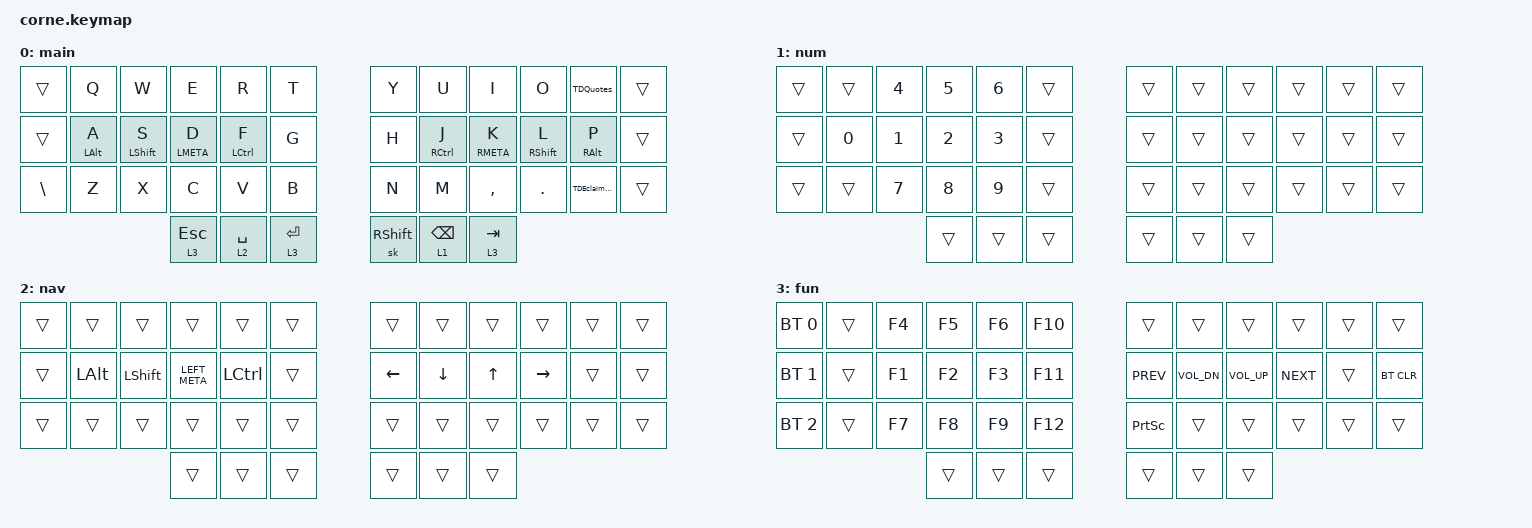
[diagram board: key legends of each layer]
/*
 * Copyright 2024 Michał Minarowski (@n3oney)
 * 
 * Originally created for QMK by Mark Stosberg (@markstos)
 * 
 * SPDX-License-Identifier: GPL-2.0-or-later
 */

#include <dt-bindings/zmk/mouse.h>
#include <behaviors.dtsi>
#include <dt-bindings/zmk/bt.h>
#include <dt-bindings/zmk/keys.h>

/ {
    combos {
        compatible = "zmk,combos";

        percent {
            bindings = <&kp UNDERSCORE>;
            key-positions = <3 2>;
            timeout-ms = <50>;
            require-prior-idle-ms = <150>;
        };

        dollar {
            bindings = <&kp EQUAL>;
            key-positions = <3 4>;
            timeout-ms = <50>;
            require-prior-idle-ms = <150>;
        };

        equals {
            bindings = <&LBrackets>;
            key-positions = <14 15>;
            timeout-ms = <50>;
            require-prior-idle-ms = <150>;
        };

        hashtag {
            bindings = <&RBrackets>;
            key-positions = <16 15>;
            timeout-ms = <50>;
            require-prior-idle-ms = <150>;
        };

        pipe {
            bindings = <&kp HASH>;
            key-positions = <28 27>;
        };

        grave {
            bindings = <&kp MINUS>;
            key-positions = <3 15>;
        };

        pipetuah {
            bindings = <&kp PLUS>;
            key-positions = <4 16>;
        };

        endofgodlike {
            bindings = <&kp ASTERISK>;
            key-positions = <5 17>;
        };

        plus {
            bindings = <&kp PERCENT>;
            key-positions = <16 28>;
        };

        minus {
            bindings = <&kp AT>;
            key-positions = <17 29>;
        };

        semi {
            bindings = <&kp DOLLAR>;
            key-positions = <9 8>;
        };

        caettt {
            bindings = <&LParLT>;
            key-positions = <19 20>;
        };

        slash {
            bindings = <&RParGT>;
            key-positions = <21 20>;
        };

        sc {
            bindings = <&kp SLASH>;
            key-positions = <32 31>;
        };

        startforgottenones {
            bindings = <&kp CARET>;
            key-positions = <6 18>;
        };

        forgotten2 {
            bindings = <&kp PIPE>;
            key-positions = <30 18>;
        };

        forgotten3 {
            bindings = <&kp COLON>;
            key-positions = <7 8>;
        };

        copy {
            bindings = <&kp SEMI>;
            key-positions = <19 7>;
        };

        paste {
            bindings = <&kp AMPERSAND>;
            key-positions = <19 31>;
        };
    };

    behaviors {
        HRLeft: HRLeft {
            compatible = "zmk,behavior-hold-tap";
            label = "HRLEFT";
            bindings = <&kp>, <&kp>;

            #binding-cells = <2>;
            tapping-term-ms = <280>;
            quick-tap-ms = <175>;
            require-prior-idle-ms = <150>;
            flavor = "balanced";
            hold-trigger-key-positions = <39 40 41 30 18 6 7 19 31 32 20 8 9 10 11 21 22 23 33 34 35>;
            hold-trigger-on-release;
        };

        HRRight: HRRight {
            compatible = "zmk,behavior-hold-tap";
            label = "HRRIGHT";
            bindings = <&kp>, <&kp>;

            #binding-cells = <2>;
            tapping-term-ms = <280>;
            quick-tap-ms = <175>;
            require-prior-idle-ms = <150>;
            flavor = "balanced";
            hold-trigger-key-positions = <0 1 2 3 4 5 12 13 14 15 16 17 24 25 26 27 28 29 36 37 38>;
            hold-trigger-on-release;
        };

        LParLT: LParLT {
            compatible = "zmk,behavior-mod-morph";
            label = "LPARLT";
            bindings = <&kp LPAR>, <&kp LESS_THAN>;

            #binding-cells = <0>;
            mods = <(MOD_LSFT|MOD_RSFT)>;
        };

        RParGT: RParGT {
            compatible = "zmk,behavior-mod-morph";
            label = "RPARGT";
            bindings = <&kp RPAR>, <&kp GREATER_THAN>;

            #binding-cells = <0>;
            mods = <(MOD_LSFT|MOD_RSFT)>;
        };

        LBrackets: LBrackets {
            compatible = "zmk,behavior-mod-morph";
            label = "LBRACKETS";
            bindings = <&kp LEFT_BRACKET>, <&kp LEFT_BRACE>;

            #binding-cells = <0>;
            mods = <(MOD_LSFT|MOD_RSFT)>;
        };

        RBrackets: RBrackets {
            compatible = "zmk,behavior-mod-morph";
            label = "RBRACKETS";
            bindings = <&kp RIGHT_BRACKET>, <&kp RIGHT_BRACE>;

            #binding-cells = <0>;
            mods = <(MOD_LSFT|MOD_RSFT)>;
        };

        FuncLayerR: FuncLayerR {
            compatible = "zmk,behavior-hold-tap";
            label = "FUNCLAYERR";
            bindings = <&mo>, <&kp>;

            #binding-cells = <2>;
            tapping-term-ms = <280>;
            quick-tap-ms = <175>;
            require-prior-idle-ms = <150>;
            flavor = "balanced";
            hold-trigger-key-positions = <0 1 2 3 4 5 12 13 14 15 16 17 24 25 26 27 28 29 36 37 38>;
            hold-trigger-on-release;
        };

        FuncLayerL: FuncLayerL {
            compatible = "zmk,behavior-hold-tap";
            label = "FUNCLAYERL";
            bindings = <&mo>, <&kp>;

            #binding-cells = <2>;
            tapping-term-ms = <280>;
            quick-tap-ms = <175>;
            require-prior-idle-ms = <150>;
            flavor = "balanced";
            hold-trigger-key-positions = <39 40 41 30 18 6 7 19 31 32 20 8 9 10 11 21 22 23 33 34 35>;
            hold-trigger-on-release;
        };

        LongPress: LongPress {
            compatible = "zmk,behavior-hold-tap";
            label = "LONGPRESS";
            bindings = <&kp>, <&kp>;

            #binding-cells = <2>;
            tapping-term-ms = <350>;
            flavor = "tap-preferred";
        };

        TDEclaimationQuestion: TDEclaimationQuestion {
            compatible = "zmk,behavior-tap-dance";
            label = "TDECLAIMATIONQUESTION";
            #binding-cells = <0>;
            bindings = <&kp EXCLAMATION>, <&kp RS(QUESTION)>;

            tapping-term-ms = <200>;
        };

        TDQuotes: TDQuotes {
            compatible = "zmk,behavior-tap-dance";
            label = "TDQUOTES";
            #binding-cells = <0>;
            bindings = <&kp SINGLE_QUOTE>, <&kp DOUBLE_QUOTES>;

            tapping-term-ms = <100>;
        };
    };

    keymap {
        compatible = "zmk,keymap";

        main {
            bindings = <
&trans         &kp Q               &kp W             &kp E                 &kp R                &kp T                  &kp Y            &kp U                    &kp I              &kp O              &TDQuotes               &trans
&trans         &HRLeft LEFT_ALT A  &HRLeft LSHIFT S  &HRLeft LMETA D       &HRLeft LCTRL F      &kp G                  &kp H            &HRRight RCTRL J         &HRRight RMETA K   &HRRight RSHIFT L  &HRRight RIGHT_ALT P    &trans
&kp BACKSLASH  &kp Z               &kp X             &kp C                 &kp V                &kp B                  &kp N            &kp M                    &kp COMMA          &kp PERIOD         &TDEclaimationQuestion  &trans
                                                     &FuncLayerL 3 ESCAPE  &FuncLayerL 2 SPACE  &FuncLayerL 3 ENTER    &sk RIGHT_SHIFT  &FuncLayerR 1 BACKSPACE  &FuncLayerR 3 TAB
            >;
        };

        num {
            bindings = <
&trans  &trans        &kp NUMBER_4  &kp N5        &kp NUMBER_6  &trans    &trans  &trans  &trans  &trans  &trans  &trans
&trans  &kp NUMBER_0  &kp NUMBER_1  &kp NUMBER_2  &kp NUMBER_3  &trans    &trans  &trans  &trans  &trans  &trans  &trans
&trans  &trans        &kp N7        &kp N8        &kp N9        &trans    &trans  &trans  &trans  &trans  &trans  &trans
                                    &trans        &trans        &trans    &trans  &trans  &trans
            >;
        };

        nav {
            bindings = <
&trans  &trans    &trans      &trans         &trans     &trans    &trans    &trans    &trans        &trans     &trans  &trans
&trans  &kp LALT  &kp LSHIFT  &kp LEFT_META  &kp LCTRL  &trans    &kp LEFT  &kp DOWN  &kp UP_ARROW  &kp RIGHT  &trans  &trans
&trans  &trans    &trans      &trans         &trans     &trans    &trans    &trans    &trans        &trans     &trans  &trans
                              &trans         &trans     &trans    &trans    &trans    &trans
            >;
        };

        fun {
            bindings = <
&bt BT_SEL 0  &trans  &kp F4  &kp F5  &kp F6  &kp F10    &trans           &trans        &trans           &trans      &trans  &trans
&bt BT_SEL 1  &trans  &kp F1  &kp F2  &kp F3  &kp F11    &kp K_PREV       &kp C_VOL_DN  &kp C_VOLUME_UP  &kp K_NEXT  &trans  &bt BT_CLR
&bt BT_SEL 2  &trans  &kp F7  &kp F8  &kp F9  &kp F12    &kp PRINTSCREEN  &trans        &trans           &trans      &trans  &trans
                              &trans  &trans  &trans     &trans           &trans        &trans
            >;
        };
    };
};
